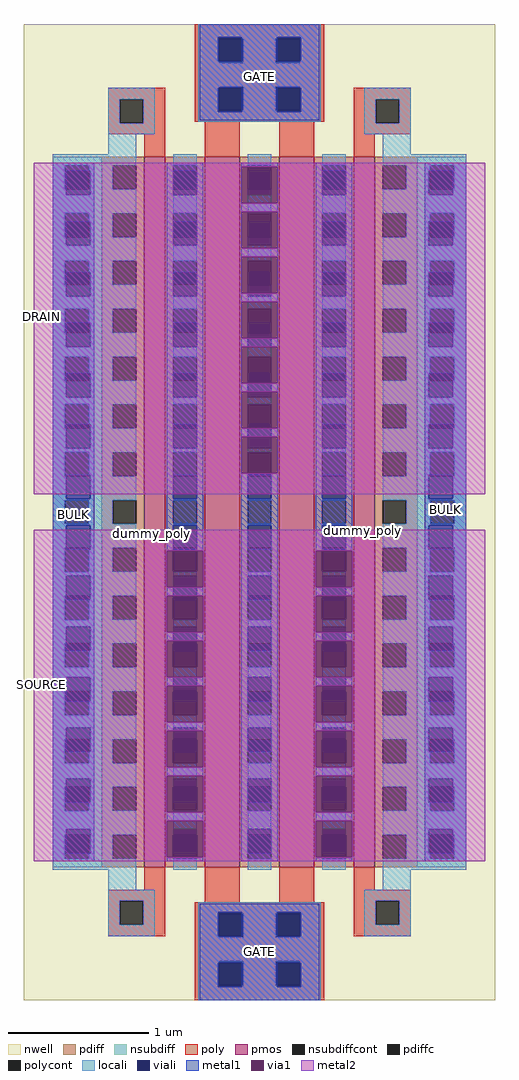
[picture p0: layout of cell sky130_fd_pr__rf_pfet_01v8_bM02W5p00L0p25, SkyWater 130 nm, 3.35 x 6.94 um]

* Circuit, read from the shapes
.subckt sky130_fd_pr__rf_pfet_01v8_bM02W5p00L0p25 BULK DRAIN GATE SOURCE
XM1 SOURCE BULK BULK BULK sky130_fd_pr__pfet_01v8 w=5.05 l=0.15 m=2
XM2 DRAIN GATE SOURCE BULK sky130_fd_pr__pfet_01v8 w=5.05 l=0.25 m=2
.ends

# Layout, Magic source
magic
tech sky130A
magscale 1 2
<< nwell >>
rect 0 0 670 1388
<< pmos >>
rect 171 189 201 1199
rect 257 189 307 1199
rect 363 189 413 1199
rect 469 189 499 1199
<< pdiff >>
rect 111 1187 171 1199
rect 111 1153 126 1187
rect 160 1153 171 1187
rect 111 1119 171 1153
rect 111 1085 126 1119
rect 160 1085 171 1119
rect 111 1051 171 1085
rect 111 1017 126 1051
rect 160 1017 171 1051
rect 111 983 171 1017
rect 111 949 126 983
rect 160 949 171 983
rect 111 915 171 949
rect 111 881 126 915
rect 160 881 171 915
rect 111 847 171 881
rect 111 813 126 847
rect 160 813 171 847
rect 111 779 171 813
rect 111 745 126 779
rect 160 745 171 779
rect 111 711 171 745
rect 111 677 126 711
rect 160 677 171 711
rect 111 643 171 677
rect 111 609 126 643
rect 160 609 171 643
rect 111 575 171 609
rect 111 541 126 575
rect 160 541 171 575
rect 111 507 171 541
rect 111 473 126 507
rect 160 473 171 507
rect 111 439 171 473
rect 111 405 126 439
rect 160 405 171 439
rect 111 371 171 405
rect 111 337 126 371
rect 160 337 171 371
rect 111 303 171 337
rect 111 269 126 303
rect 160 269 171 303
rect 111 235 171 269
rect 111 201 126 235
rect 160 201 171 235
rect 111 189 171 201
rect 201 1187 257 1199
rect 201 1153 212 1187
rect 246 1153 257 1187
rect 201 1119 257 1153
rect 201 1085 212 1119
rect 246 1085 257 1119
rect 201 1051 257 1085
rect 201 1017 212 1051
rect 246 1017 257 1051
rect 201 983 257 1017
rect 201 949 212 983
rect 246 949 257 983
rect 201 915 257 949
rect 201 881 212 915
rect 246 881 257 915
rect 201 847 257 881
rect 201 813 212 847
rect 246 813 257 847
rect 201 779 257 813
rect 201 745 212 779
rect 246 745 257 779
rect 201 711 257 745
rect 201 677 212 711
rect 246 677 257 711
rect 201 643 257 677
rect 201 609 212 643
rect 246 609 257 643
rect 201 575 257 609
rect 201 541 212 575
rect 246 541 257 575
rect 201 507 257 541
rect 201 473 212 507
rect 246 473 257 507
rect 201 439 257 473
rect 201 405 212 439
rect 246 405 257 439
rect 201 371 257 405
rect 201 337 212 371
rect 246 337 257 371
rect 201 303 257 337
rect 201 269 212 303
rect 246 269 257 303
rect 201 235 257 269
rect 201 201 212 235
rect 246 201 257 235
rect 201 189 257 201
rect 307 1187 363 1199
rect 307 1153 318 1187
rect 352 1153 363 1187
rect 307 1119 363 1153
rect 307 1085 318 1119
rect 352 1085 363 1119
rect 307 1051 363 1085
rect 307 1017 318 1051
rect 352 1017 363 1051
rect 307 983 363 1017
rect 307 949 318 983
rect 352 949 363 983
rect 307 915 363 949
rect 307 881 318 915
rect 352 881 363 915
rect 307 847 363 881
rect 307 813 318 847
rect 352 813 363 847
rect 307 779 363 813
rect 307 745 318 779
rect 352 745 363 779
rect 307 711 363 745
rect 307 677 318 711
rect 352 677 363 711
rect 307 643 363 677
rect 307 609 318 643
rect 352 609 363 643
rect 307 575 363 609
rect 307 541 318 575
rect 352 541 363 575
rect 307 507 363 541
rect 307 473 318 507
rect 352 473 363 507
rect 307 439 363 473
rect 307 405 318 439
rect 352 405 363 439
rect 307 371 363 405
rect 307 337 318 371
rect 352 337 363 371
rect 307 303 363 337
rect 307 269 318 303
rect 352 269 363 303
rect 307 235 363 269
rect 307 201 318 235
rect 352 201 363 235
rect 307 189 363 201
rect 413 1187 469 1199
rect 413 1153 424 1187
rect 458 1153 469 1187
rect 413 1119 469 1153
rect 413 1085 424 1119
rect 458 1085 469 1119
rect 413 1051 469 1085
rect 413 1017 424 1051
rect 458 1017 469 1051
rect 413 983 469 1017
rect 413 949 424 983
rect 458 949 469 983
rect 413 915 469 949
rect 413 881 424 915
rect 458 881 469 915
rect 413 847 469 881
rect 413 813 424 847
rect 458 813 469 847
rect 413 779 469 813
rect 413 745 424 779
rect 458 745 469 779
rect 413 711 469 745
rect 413 677 424 711
rect 458 677 469 711
rect 413 643 469 677
rect 413 609 424 643
rect 458 609 469 643
rect 413 575 469 609
rect 413 541 424 575
rect 458 541 469 575
rect 413 507 469 541
rect 413 473 424 507
rect 458 473 469 507
rect 413 439 469 473
rect 413 405 424 439
rect 458 405 469 439
rect 413 371 469 405
rect 413 337 424 371
rect 458 337 469 371
rect 413 303 469 337
rect 413 269 424 303
rect 458 269 469 303
rect 413 235 469 269
rect 413 201 424 235
rect 458 201 469 235
rect 413 189 469 201
rect 499 1187 559 1199
rect 499 1153 510 1187
rect 544 1153 559 1187
rect 499 1119 559 1153
rect 499 1085 510 1119
rect 544 1085 559 1119
rect 499 1051 559 1085
rect 499 1017 510 1051
rect 544 1017 559 1051
rect 499 983 559 1017
rect 499 949 510 983
rect 544 949 559 983
rect 499 915 559 949
rect 499 881 510 915
rect 544 881 559 915
rect 499 847 559 881
rect 499 813 510 847
rect 544 813 559 847
rect 499 779 559 813
rect 499 745 510 779
rect 544 745 559 779
rect 499 711 559 745
rect 499 677 510 711
rect 544 677 559 711
rect 499 643 559 677
rect 499 609 510 643
rect 544 609 559 643
rect 499 575 559 609
rect 499 541 510 575
rect 544 541 559 575
rect 499 507 559 541
rect 499 473 510 507
rect 544 473 559 507
rect 499 439 559 473
rect 499 405 510 439
rect 544 405 559 439
rect 499 371 559 405
rect 499 337 510 371
rect 544 337 559 371
rect 499 303 559 337
rect 499 269 510 303
rect 544 269 559 303
rect 499 235 559 269
rect 499 201 510 235
rect 544 201 559 235
rect 499 189 559 201
<< pdiffc >>
rect 126 1153 160 1187
rect 126 1085 160 1119
rect 126 1017 160 1051
rect 126 949 160 983
rect 126 881 160 915
rect 126 813 160 847
rect 126 745 160 779
rect 126 677 160 711
rect 126 609 160 643
rect 126 541 160 575
rect 126 473 160 507
rect 126 405 160 439
rect 126 337 160 371
rect 126 269 160 303
rect 126 201 160 235
rect 212 1153 246 1187
rect 212 1085 246 1119
rect 212 1017 246 1051
rect 212 949 246 983
rect 212 881 246 915
rect 212 813 246 847
rect 212 745 246 779
rect 212 677 246 711
rect 212 609 246 643
rect 212 541 246 575
rect 212 473 246 507
rect 212 405 246 439
rect 212 337 246 371
rect 212 269 246 303
rect 212 201 246 235
rect 318 1153 352 1187
rect 318 1085 352 1119
rect 318 1017 352 1051
rect 318 949 352 983
rect 318 881 352 915
rect 318 813 352 847
rect 318 745 352 779
rect 318 677 352 711
rect 318 609 352 643
rect 318 541 352 575
rect 318 473 352 507
rect 318 405 352 439
rect 318 337 352 371
rect 318 269 352 303
rect 318 201 352 235
rect 424 1153 458 1187
rect 424 1085 458 1119
rect 424 1017 458 1051
rect 424 949 458 983
rect 424 881 458 915
rect 424 813 458 847
rect 424 745 458 779
rect 424 677 458 711
rect 424 609 458 643
rect 424 541 458 575
rect 424 473 458 507
rect 424 405 458 439
rect 424 337 458 371
rect 424 269 458 303
rect 424 201 458 235
rect 510 1153 544 1187
rect 510 1085 544 1119
rect 510 1017 544 1051
rect 510 949 544 983
rect 510 881 544 915
rect 510 813 544 847
rect 510 745 544 779
rect 510 677 544 711
rect 510 609 544 643
rect 510 541 544 575
rect 510 473 544 507
rect 510 405 544 439
rect 510 337 544 371
rect 510 269 544 303
rect 510 201 544 235
<< nsubdiff >>
rect 41 1187 111 1199
rect 41 1153 58 1187
rect 92 1153 111 1187
rect 41 1119 111 1153
rect 41 1085 58 1119
rect 92 1085 111 1119
rect 41 1051 111 1085
rect 41 1017 58 1051
rect 92 1017 111 1051
rect 41 983 111 1017
rect 41 949 58 983
rect 92 949 111 983
rect 41 915 111 949
rect 41 881 58 915
rect 92 881 111 915
rect 41 847 111 881
rect 41 813 58 847
rect 92 813 111 847
rect 41 779 111 813
rect 41 745 58 779
rect 92 745 111 779
rect 41 711 111 745
rect 41 677 58 711
rect 92 677 111 711
rect 41 643 111 677
rect 41 609 58 643
rect 92 609 111 643
rect 41 575 111 609
rect 41 541 58 575
rect 92 541 111 575
rect 41 507 111 541
rect 41 473 58 507
rect 92 473 111 507
rect 41 439 111 473
rect 41 405 58 439
rect 92 405 111 439
rect 41 371 111 405
rect 41 337 58 371
rect 92 337 111 371
rect 41 303 111 337
rect 41 269 58 303
rect 92 269 111 303
rect 41 235 111 269
rect 41 201 58 235
rect 92 201 111 235
rect 41 189 111 201
rect 559 1187 629 1199
rect 559 1153 578 1187
rect 612 1153 629 1187
rect 559 1119 629 1153
rect 559 1085 578 1119
rect 612 1085 629 1119
rect 559 1051 629 1085
rect 559 1017 578 1051
rect 612 1017 629 1051
rect 559 983 629 1017
rect 559 949 578 983
rect 612 949 629 983
rect 559 915 629 949
rect 559 881 578 915
rect 612 881 629 915
rect 559 847 629 881
rect 559 813 578 847
rect 612 813 629 847
rect 559 779 629 813
rect 559 745 578 779
rect 612 745 629 779
rect 559 711 629 745
rect 559 677 578 711
rect 612 677 629 711
rect 559 643 629 677
rect 559 609 578 643
rect 612 609 629 643
rect 559 575 629 609
rect 559 541 578 575
rect 612 541 629 575
rect 559 507 629 541
rect 559 473 578 507
rect 612 473 629 507
rect 559 439 629 473
rect 559 405 578 439
rect 612 405 629 439
rect 559 371 629 405
rect 559 337 578 371
rect 612 337 629 371
rect 559 303 629 337
rect 559 269 578 303
rect 612 269 629 303
rect 559 235 629 269
rect 559 201 578 235
rect 612 201 629 235
rect 559 189 629 201
<< nsubdiffcont >>
rect 58 1153 92 1187
rect 58 1085 92 1119
rect 58 1017 92 1051
rect 58 949 92 983
rect 58 881 92 915
rect 58 813 92 847
rect 58 745 92 779
rect 58 677 92 711
rect 58 609 92 643
rect 58 541 92 575
rect 58 473 92 507
rect 58 405 92 439
rect 58 337 92 371
rect 58 269 92 303
rect 58 201 92 235
rect 578 1153 612 1187
rect 578 1085 612 1119
rect 578 1017 612 1051
rect 578 949 612 983
rect 578 881 612 915
rect 578 813 612 847
rect 578 745 612 779
rect 578 677 612 711
rect 578 609 612 643
rect 578 541 612 575
rect 578 473 612 507
rect 578 405 612 439
rect 578 337 612 371
rect 578 269 612 303
rect 578 201 612 235
<< poly >>
rect 243 1367 427 1388
rect 243 1333 278 1367
rect 312 1333 358 1367
rect 392 1333 427 1367
rect 243 1299 427 1333
rect 120 1281 201 1297
rect 120 1247 136 1281
rect 170 1247 201 1281
rect 243 1265 278 1299
rect 312 1265 358 1299
rect 392 1265 427 1299
rect 243 1249 427 1265
rect 469 1281 550 1297
rect 120 1231 201 1247
rect 171 1199 201 1231
rect 257 1199 307 1249
rect 363 1199 413 1249
rect 469 1247 500 1281
rect 534 1247 550 1281
rect 469 1231 550 1247
rect 469 1199 499 1231
rect 171 157 201 189
rect 120 141 201 157
rect 120 107 136 141
rect 170 107 201 141
rect 257 139 307 189
rect 363 139 413 189
rect 469 157 499 189
rect 469 141 550 157
rect 120 91 201 107
rect 243 123 427 139
rect 243 89 278 123
rect 312 89 358 123
rect 392 89 427 123
rect 469 107 500 141
rect 534 107 550 141
rect 469 91 550 107
rect 243 55 427 89
rect 243 21 278 55
rect 312 21 358 55
rect 392 21 427 55
rect 243 0 427 21
<< polycont >>
rect 278 1333 312 1367
rect 358 1333 392 1367
rect 136 1247 170 1281
rect 278 1265 312 1299
rect 358 1265 392 1299
rect 500 1247 534 1281
rect 136 107 170 141
rect 278 89 312 123
rect 358 89 392 123
rect 500 107 534 141
rect 278 21 312 55
rect 358 21 392 55
<< locali >>
rect 248 1369 422 1388
rect 248 1335 276 1369
rect 310 1367 360 1369
rect 248 1333 278 1335
rect 312 1333 358 1367
rect 394 1335 422 1369
rect 392 1333 422 1335
rect 248 1299 422 1333
rect 248 1297 278 1299
rect 120 1281 186 1297
rect 120 1247 136 1281
rect 170 1247 186 1281
rect 248 1263 276 1297
rect 312 1265 358 1299
rect 392 1297 422 1299
rect 310 1263 360 1265
rect 394 1263 422 1297
rect 248 1249 422 1263
rect 484 1281 550 1297
rect 120 1231 186 1247
rect 484 1247 500 1281
rect 534 1247 550 1281
rect 484 1231 550 1247
rect 120 1203 160 1231
rect 510 1203 550 1231
rect 41 1187 160 1203
rect 41 1153 58 1187
rect 92 1179 126 1187
rect 94 1153 126 1179
rect 41 1145 60 1153
rect 94 1145 160 1153
rect 41 1119 160 1145
rect 41 1085 58 1119
rect 92 1107 126 1119
rect 94 1085 126 1107
rect 41 1073 60 1085
rect 94 1073 160 1085
rect 41 1051 160 1073
rect 41 1017 58 1051
rect 92 1035 126 1051
rect 94 1017 126 1035
rect 41 1001 60 1017
rect 94 1001 160 1017
rect 41 983 160 1001
rect 41 949 58 983
rect 92 963 126 983
rect 94 949 126 963
rect 41 929 60 949
rect 94 929 160 949
rect 41 915 160 929
rect 41 881 58 915
rect 92 891 126 915
rect 94 881 126 891
rect 41 857 60 881
rect 94 857 160 881
rect 41 847 160 857
rect 41 813 58 847
rect 92 819 126 847
rect 94 813 126 819
rect 41 785 60 813
rect 94 785 160 813
rect 41 779 160 785
rect 41 745 58 779
rect 92 747 126 779
rect 94 745 126 747
rect 41 713 60 745
rect 94 713 160 745
rect 41 711 160 713
rect 41 677 58 711
rect 92 677 126 711
rect 41 675 160 677
rect 41 643 60 675
rect 94 643 160 675
rect 41 609 58 643
rect 94 641 126 643
rect 92 609 126 641
rect 41 603 160 609
rect 41 575 60 603
rect 94 575 160 603
rect 41 541 58 575
rect 94 569 126 575
rect 92 541 126 569
rect 41 531 160 541
rect 41 507 60 531
rect 94 507 160 531
rect 41 473 58 507
rect 94 497 126 507
rect 92 473 126 497
rect 41 459 160 473
rect 41 439 60 459
rect 94 439 160 459
rect 41 405 58 439
rect 94 425 126 439
rect 92 405 126 425
rect 41 387 160 405
rect 41 371 60 387
rect 94 371 160 387
rect 41 337 58 371
rect 94 353 126 371
rect 92 337 126 353
rect 41 315 160 337
rect 41 303 60 315
rect 94 303 160 315
rect 41 269 58 303
rect 94 281 126 303
rect 92 269 126 281
rect 41 243 160 269
rect 41 235 60 243
rect 94 235 160 243
rect 41 201 58 235
rect 94 209 126 235
rect 92 201 126 209
rect 41 185 160 201
rect 212 1187 246 1203
rect 212 1119 246 1145
rect 212 1051 246 1073
rect 212 983 246 1001
rect 212 915 246 929
rect 212 847 246 857
rect 212 779 246 785
rect 212 711 246 713
rect 212 675 246 677
rect 212 603 246 609
rect 212 531 246 541
rect 212 459 246 473
rect 212 387 246 405
rect 212 315 246 337
rect 212 243 246 269
rect 212 185 246 201
rect 318 1187 352 1203
rect 318 1119 352 1145
rect 318 1051 352 1073
rect 318 983 352 1001
rect 318 915 352 929
rect 318 847 352 857
rect 318 779 352 785
rect 318 711 352 713
rect 318 675 352 677
rect 318 603 352 609
rect 318 531 352 541
rect 318 459 352 473
rect 318 387 352 405
rect 318 315 352 337
rect 318 243 352 269
rect 318 185 352 201
rect 424 1187 458 1203
rect 424 1119 458 1145
rect 424 1051 458 1073
rect 424 983 458 1001
rect 424 915 458 929
rect 424 847 458 857
rect 424 779 458 785
rect 424 711 458 713
rect 424 675 458 677
rect 424 603 458 609
rect 424 531 458 541
rect 424 459 458 473
rect 424 387 458 405
rect 424 315 458 337
rect 424 243 458 269
rect 424 185 458 201
rect 510 1187 629 1203
rect 544 1179 578 1187
rect 544 1153 576 1179
rect 612 1153 629 1187
rect 510 1145 576 1153
rect 610 1145 629 1153
rect 510 1119 629 1145
rect 544 1107 578 1119
rect 544 1085 576 1107
rect 612 1085 629 1119
rect 510 1073 576 1085
rect 610 1073 629 1085
rect 510 1051 629 1073
rect 544 1035 578 1051
rect 544 1017 576 1035
rect 612 1017 629 1051
rect 510 1001 576 1017
rect 610 1001 629 1017
rect 510 983 629 1001
rect 544 963 578 983
rect 544 949 576 963
rect 612 949 629 983
rect 510 929 576 949
rect 610 929 629 949
rect 510 915 629 929
rect 544 891 578 915
rect 544 881 576 891
rect 612 881 629 915
rect 510 857 576 881
rect 610 857 629 881
rect 510 847 629 857
rect 544 819 578 847
rect 544 813 576 819
rect 612 813 629 847
rect 510 785 576 813
rect 610 785 629 813
rect 510 779 629 785
rect 544 747 578 779
rect 544 745 576 747
rect 612 745 629 779
rect 510 713 576 745
rect 610 713 629 745
rect 510 711 629 713
rect 544 677 578 711
rect 612 677 629 711
rect 510 675 629 677
rect 510 643 576 675
rect 610 643 629 675
rect 544 641 576 643
rect 544 609 578 641
rect 612 609 629 643
rect 510 603 629 609
rect 510 575 576 603
rect 610 575 629 603
rect 544 569 576 575
rect 544 541 578 569
rect 612 541 629 575
rect 510 531 629 541
rect 510 507 576 531
rect 610 507 629 531
rect 544 497 576 507
rect 544 473 578 497
rect 612 473 629 507
rect 510 459 629 473
rect 510 439 576 459
rect 610 439 629 459
rect 544 425 576 439
rect 544 405 578 425
rect 612 405 629 439
rect 510 387 629 405
rect 510 371 576 387
rect 610 371 629 387
rect 544 353 576 371
rect 544 337 578 353
rect 612 337 629 371
rect 510 315 629 337
rect 510 303 576 315
rect 610 303 629 315
rect 544 281 576 303
rect 544 269 578 281
rect 612 269 629 303
rect 510 243 629 269
rect 510 235 576 243
rect 610 235 629 243
rect 544 209 576 235
rect 544 201 578 209
rect 612 201 629 235
rect 510 185 629 201
rect 120 157 160 185
rect 510 157 550 185
rect 120 141 186 157
rect 120 107 136 141
rect 170 107 186 141
rect 484 141 550 157
rect 120 91 186 107
rect 248 125 422 139
rect 248 91 276 125
rect 310 123 360 125
rect 248 89 278 91
rect 312 89 358 123
rect 394 91 422 125
rect 484 107 500 141
rect 534 107 550 141
rect 484 91 550 107
rect 392 89 422 91
rect 248 55 422 89
rect 248 53 278 55
rect 248 19 276 53
rect 312 21 358 55
rect 392 53 422 55
rect 310 19 360 21
rect 394 19 422 53
rect 248 0 422 19
<< viali >>
rect 276 1367 310 1369
rect 360 1367 394 1369
rect 276 1335 278 1367
rect 278 1335 310 1367
rect 360 1335 392 1367
rect 392 1335 394 1367
rect 276 1265 278 1297
rect 278 1265 310 1297
rect 360 1265 392 1297
rect 392 1265 394 1297
rect 276 1263 310 1265
rect 360 1263 394 1265
rect 60 1153 92 1179
rect 92 1153 94 1179
rect 60 1145 94 1153
rect 60 1085 92 1107
rect 92 1085 94 1107
rect 60 1073 94 1085
rect 60 1017 92 1035
rect 92 1017 94 1035
rect 60 1001 94 1017
rect 60 949 92 963
rect 92 949 94 963
rect 60 929 94 949
rect 60 881 92 891
rect 92 881 94 891
rect 60 857 94 881
rect 60 813 92 819
rect 92 813 94 819
rect 60 785 94 813
rect 60 745 92 747
rect 92 745 94 747
rect 60 713 94 745
rect 60 643 94 675
rect 60 641 92 643
rect 92 641 94 643
rect 60 575 94 603
rect 60 569 92 575
rect 92 569 94 575
rect 60 507 94 531
rect 60 497 92 507
rect 92 497 94 507
rect 60 439 94 459
rect 60 425 92 439
rect 92 425 94 439
rect 60 371 94 387
rect 60 353 92 371
rect 92 353 94 371
rect 60 303 94 315
rect 60 281 92 303
rect 92 281 94 303
rect 60 235 94 243
rect 60 209 92 235
rect 92 209 94 235
rect 212 1153 246 1179
rect 212 1145 246 1153
rect 212 1085 246 1107
rect 212 1073 246 1085
rect 212 1017 246 1035
rect 212 1001 246 1017
rect 212 949 246 963
rect 212 929 246 949
rect 212 881 246 891
rect 212 857 246 881
rect 212 813 246 819
rect 212 785 246 813
rect 212 745 246 747
rect 212 713 246 745
rect 212 643 246 675
rect 212 641 246 643
rect 212 575 246 603
rect 212 569 246 575
rect 212 507 246 531
rect 212 497 246 507
rect 212 439 246 459
rect 212 425 246 439
rect 212 371 246 387
rect 212 353 246 371
rect 212 303 246 315
rect 212 281 246 303
rect 212 235 246 243
rect 212 209 246 235
rect 318 1153 352 1179
rect 318 1145 352 1153
rect 318 1085 352 1107
rect 318 1073 352 1085
rect 318 1017 352 1035
rect 318 1001 352 1017
rect 318 949 352 963
rect 318 929 352 949
rect 318 881 352 891
rect 318 857 352 881
rect 318 813 352 819
rect 318 785 352 813
rect 318 745 352 747
rect 318 713 352 745
rect 318 643 352 675
rect 318 641 352 643
rect 318 575 352 603
rect 318 569 352 575
rect 318 507 352 531
rect 318 497 352 507
rect 318 439 352 459
rect 318 425 352 439
rect 318 371 352 387
rect 318 353 352 371
rect 318 303 352 315
rect 318 281 352 303
rect 318 235 352 243
rect 318 209 352 235
rect 424 1153 458 1179
rect 424 1145 458 1153
rect 424 1085 458 1107
rect 424 1073 458 1085
rect 424 1017 458 1035
rect 424 1001 458 1017
rect 424 949 458 963
rect 424 929 458 949
rect 424 881 458 891
rect 424 857 458 881
rect 424 813 458 819
rect 424 785 458 813
rect 424 745 458 747
rect 424 713 458 745
rect 424 643 458 675
rect 424 641 458 643
rect 424 575 458 603
rect 424 569 458 575
rect 424 507 458 531
rect 424 497 458 507
rect 424 439 458 459
rect 424 425 458 439
rect 424 371 458 387
rect 424 353 458 371
rect 424 303 458 315
rect 424 281 458 303
rect 424 235 458 243
rect 424 209 458 235
rect 576 1153 578 1179
rect 578 1153 610 1179
rect 576 1145 610 1153
rect 576 1085 578 1107
rect 578 1085 610 1107
rect 576 1073 610 1085
rect 576 1017 578 1035
rect 578 1017 610 1035
rect 576 1001 610 1017
rect 576 949 578 963
rect 578 949 610 963
rect 576 929 610 949
rect 576 881 578 891
rect 578 881 610 891
rect 576 857 610 881
rect 576 813 578 819
rect 578 813 610 819
rect 576 785 610 813
rect 576 745 578 747
rect 578 745 610 747
rect 576 713 610 745
rect 576 643 610 675
rect 576 641 578 643
rect 578 641 610 643
rect 576 575 610 603
rect 576 569 578 575
rect 578 569 610 575
rect 576 507 610 531
rect 576 497 578 507
rect 578 497 610 507
rect 576 439 610 459
rect 576 425 578 439
rect 578 425 610 439
rect 576 371 610 387
rect 576 353 578 371
rect 578 353 610 371
rect 576 303 610 315
rect 576 281 578 303
rect 578 281 610 303
rect 576 235 610 243
rect 576 209 578 235
rect 578 209 610 235
rect 276 123 310 125
rect 360 123 394 125
rect 276 91 278 123
rect 278 91 310 123
rect 360 91 392 123
rect 392 91 394 123
rect 276 21 278 53
rect 278 21 310 53
rect 360 21 392 53
rect 392 21 394 53
rect 276 19 310 21
rect 360 19 394 21
<< metal1 >>
rect 250 1369 420 1388
rect 250 1335 276 1369
rect 310 1335 360 1369
rect 394 1335 420 1369
rect 250 1297 420 1335
rect 250 1263 276 1297
rect 310 1263 360 1297
rect 394 1263 420 1297
rect 250 1251 420 1263
rect 41 1179 100 1191
rect 41 1145 60 1179
rect 94 1145 100 1179
rect 41 1107 100 1145
rect 41 1073 60 1107
rect 94 1073 100 1107
rect 41 1035 100 1073
rect 41 1001 60 1035
rect 94 1001 100 1035
rect 41 963 100 1001
rect 41 929 60 963
rect 94 929 100 963
rect 41 891 100 929
rect 41 857 60 891
rect 94 857 100 891
rect 41 819 100 857
rect 41 785 60 819
rect 94 785 100 819
rect 41 747 100 785
rect 41 713 60 747
rect 94 713 100 747
rect 41 675 100 713
rect 41 641 60 675
rect 94 641 100 675
rect 41 603 100 641
rect 41 569 60 603
rect 94 569 100 603
rect 41 531 100 569
rect 41 497 60 531
rect 94 497 100 531
rect 41 459 100 497
rect 41 425 60 459
rect 94 425 100 459
rect 41 387 100 425
rect 41 353 60 387
rect 94 353 100 387
rect 41 315 100 353
rect 41 281 60 315
rect 94 281 100 315
rect 41 243 100 281
rect 41 209 60 243
rect 94 209 100 243
rect 41 197 100 209
rect 203 1179 255 1191
rect 203 1145 212 1179
rect 246 1145 255 1179
rect 203 1107 255 1145
rect 203 1073 212 1107
rect 246 1073 255 1107
rect 203 1035 255 1073
rect 203 1001 212 1035
rect 246 1001 255 1035
rect 203 963 255 1001
rect 203 929 212 963
rect 246 929 255 963
rect 203 891 255 929
rect 203 857 212 891
rect 246 857 255 891
rect 203 819 255 857
rect 203 785 212 819
rect 246 785 255 819
rect 203 747 255 785
rect 203 713 212 747
rect 246 713 255 747
rect 203 675 255 713
rect 203 641 212 675
rect 246 641 255 675
rect 203 639 255 641
rect 203 575 212 587
rect 246 575 255 587
rect 203 511 212 523
rect 246 511 255 523
rect 203 447 212 459
rect 246 447 255 459
rect 203 387 255 395
rect 203 383 212 387
rect 246 383 255 387
rect 203 319 255 331
rect 203 255 255 267
rect 203 197 255 203
rect 309 1185 361 1191
rect 309 1121 361 1133
rect 309 1057 361 1069
rect 309 1001 318 1005
rect 352 1001 361 1005
rect 309 993 361 1001
rect 309 929 318 941
rect 352 929 361 941
rect 309 865 318 877
rect 352 865 361 877
rect 309 801 318 813
rect 352 801 361 813
rect 309 747 361 749
rect 309 713 318 747
rect 352 713 361 747
rect 309 675 361 713
rect 309 641 318 675
rect 352 641 361 675
rect 309 603 361 641
rect 309 569 318 603
rect 352 569 361 603
rect 309 531 361 569
rect 309 497 318 531
rect 352 497 361 531
rect 309 459 361 497
rect 309 425 318 459
rect 352 425 361 459
rect 309 387 361 425
rect 309 353 318 387
rect 352 353 361 387
rect 309 315 361 353
rect 309 281 318 315
rect 352 281 361 315
rect 309 243 361 281
rect 309 209 318 243
rect 352 209 361 243
rect 309 197 361 209
rect 415 1179 467 1191
rect 415 1145 424 1179
rect 458 1145 467 1179
rect 415 1107 467 1145
rect 415 1073 424 1107
rect 458 1073 467 1107
rect 415 1035 467 1073
rect 415 1001 424 1035
rect 458 1001 467 1035
rect 415 963 467 1001
rect 415 929 424 963
rect 458 929 467 963
rect 415 891 467 929
rect 415 857 424 891
rect 458 857 467 891
rect 415 819 467 857
rect 415 785 424 819
rect 458 785 467 819
rect 415 747 467 785
rect 415 713 424 747
rect 458 713 467 747
rect 415 675 467 713
rect 415 641 424 675
rect 458 641 467 675
rect 415 639 467 641
rect 415 575 424 587
rect 458 575 467 587
rect 415 511 424 523
rect 458 511 467 523
rect 415 447 424 459
rect 458 447 467 459
rect 415 387 467 395
rect 415 383 424 387
rect 458 383 467 387
rect 415 319 467 331
rect 415 255 467 267
rect 415 197 467 203
rect 570 1179 629 1191
rect 570 1145 576 1179
rect 610 1145 629 1179
rect 570 1107 629 1145
rect 570 1073 576 1107
rect 610 1073 629 1107
rect 570 1035 629 1073
rect 570 1001 576 1035
rect 610 1001 629 1035
rect 570 963 629 1001
rect 570 929 576 963
rect 610 929 629 963
rect 570 891 629 929
rect 570 857 576 891
rect 610 857 629 891
rect 570 819 629 857
rect 570 785 576 819
rect 610 785 629 819
rect 570 747 629 785
rect 570 713 576 747
rect 610 713 629 747
rect 570 675 629 713
rect 570 641 576 675
rect 610 641 629 675
rect 570 603 629 641
rect 570 569 576 603
rect 610 569 629 603
rect 570 531 629 569
rect 570 497 576 531
rect 610 497 629 531
rect 570 459 629 497
rect 570 425 576 459
rect 610 425 629 459
rect 570 387 629 425
rect 570 353 576 387
rect 610 353 629 387
rect 570 315 629 353
rect 570 281 576 315
rect 610 281 629 315
rect 570 243 629 281
rect 570 209 576 243
rect 610 209 629 243
rect 570 197 629 209
rect 250 125 420 137
rect 250 91 276 125
rect 310 91 360 125
rect 394 91 420 125
rect 250 53 420 91
rect 250 19 276 53
rect 310 19 360 53
rect 394 19 420 53
rect 250 0 420 19
<< via1 >>
rect 203 603 255 639
rect 203 587 212 603
rect 212 587 246 603
rect 246 587 255 603
rect 203 569 212 575
rect 212 569 246 575
rect 246 569 255 575
rect 203 531 255 569
rect 203 523 212 531
rect 212 523 246 531
rect 246 523 255 531
rect 203 497 212 511
rect 212 497 246 511
rect 246 497 255 511
rect 203 459 255 497
rect 203 425 212 447
rect 212 425 246 447
rect 246 425 255 447
rect 203 395 255 425
rect 203 353 212 383
rect 212 353 246 383
rect 246 353 255 383
rect 203 331 255 353
rect 203 315 255 319
rect 203 281 212 315
rect 212 281 246 315
rect 246 281 255 315
rect 203 267 255 281
rect 203 243 255 255
rect 203 209 212 243
rect 212 209 246 243
rect 246 209 255 243
rect 203 203 255 209
rect 309 1179 361 1185
rect 309 1145 318 1179
rect 318 1145 352 1179
rect 352 1145 361 1179
rect 309 1133 361 1145
rect 309 1107 361 1121
rect 309 1073 318 1107
rect 318 1073 352 1107
rect 352 1073 361 1107
rect 309 1069 361 1073
rect 309 1035 361 1057
rect 309 1005 318 1035
rect 318 1005 352 1035
rect 352 1005 361 1035
rect 309 963 361 993
rect 309 941 318 963
rect 318 941 352 963
rect 352 941 361 963
rect 309 891 361 929
rect 309 877 318 891
rect 318 877 352 891
rect 352 877 361 891
rect 309 857 318 865
rect 318 857 352 865
rect 352 857 361 865
rect 309 819 361 857
rect 309 813 318 819
rect 318 813 352 819
rect 352 813 361 819
rect 309 785 318 801
rect 318 785 352 801
rect 352 785 361 801
rect 309 749 361 785
rect 415 603 467 639
rect 415 587 424 603
rect 424 587 458 603
rect 458 587 467 603
rect 415 569 424 575
rect 424 569 458 575
rect 458 569 467 575
rect 415 531 467 569
rect 415 523 424 531
rect 424 523 458 531
rect 458 523 467 531
rect 415 497 424 511
rect 424 497 458 511
rect 458 497 467 511
rect 415 459 467 497
rect 415 425 424 447
rect 424 425 458 447
rect 458 425 467 447
rect 415 395 467 425
rect 415 353 424 383
rect 424 353 458 383
rect 458 353 467 383
rect 415 331 467 353
rect 415 315 467 319
rect 415 281 424 315
rect 424 281 458 315
rect 458 281 467 315
rect 415 267 467 281
rect 415 243 467 255
rect 415 209 424 243
rect 424 209 458 243
rect 458 209 467 243
rect 415 203 467 209
<< metal2 >>
rect 14 1185 656 1191
rect 14 1133 309 1185
rect 361 1133 656 1185
rect 14 1121 656 1133
rect 14 1069 309 1121
rect 361 1069 656 1121
rect 14 1057 656 1069
rect 14 1005 309 1057
rect 361 1005 656 1057
rect 14 993 656 1005
rect 14 941 309 993
rect 361 941 656 993
rect 14 929 656 941
rect 14 877 309 929
rect 361 877 656 929
rect 14 865 656 877
rect 14 813 309 865
rect 361 813 656 865
rect 14 801 656 813
rect 14 749 309 801
rect 361 749 656 801
rect 14 719 656 749
rect 14 639 656 669
rect 14 587 203 639
rect 255 587 415 639
rect 467 587 656 639
rect 14 575 656 587
rect 14 523 203 575
rect 255 523 415 575
rect 467 523 656 575
rect 14 511 656 523
rect 14 459 203 511
rect 255 459 415 511
rect 467 459 656 511
rect 14 447 656 459
rect 14 395 203 447
rect 255 395 415 447
rect 467 395 656 447
rect 14 383 656 395
rect 14 331 203 383
rect 255 331 415 383
rect 467 331 656 383
rect 14 319 656 331
rect 14 267 203 319
rect 255 267 415 319
rect 467 267 656 319
rect 14 255 656 267
rect 14 203 203 255
rect 255 203 415 255
rect 467 203 656 255
rect 14 197 656 203
<< labels >>
flabel comment s 182 664 182 664 0 FreeSans 180 90 0 0 dummy_poly
flabel comment s 482 668 482 668 0 FreeSans 180 90 0 0 dummy_poly
flabel metal1 s 255 1288 414 1339 0 FreeSans 200 0 0 0 GATE
port 3 nsew
flabel metal1 s 255 44 414 95 0 FreeSans 200 0 0 0 GATE
port 3 nsew
flabel metal1 s 570 683 629 713 0 FreeSans 200 90 0 0 BULK
port 1 nsew
flabel metal1 s 41 675 100 705 0 FreeSans 200 90 0 0 BULK
port 1 nsew
flabel metal2 s 14 384 35 512 7 FreeSans 300 180 0 0 SOURCE
port 4 nsew
flabel metal2 s 14 908 35 1036 7 FreeSans 300 180 0 0 DRAIN
port 2 nsew
<< properties >>
string GDS_FILE $PDKPATH/libs.ref/sky130_fd_pr/gds/sky130_fd_pr.gds
string GDS_END 9687804
string GDS_START 9667720
<< end >>
